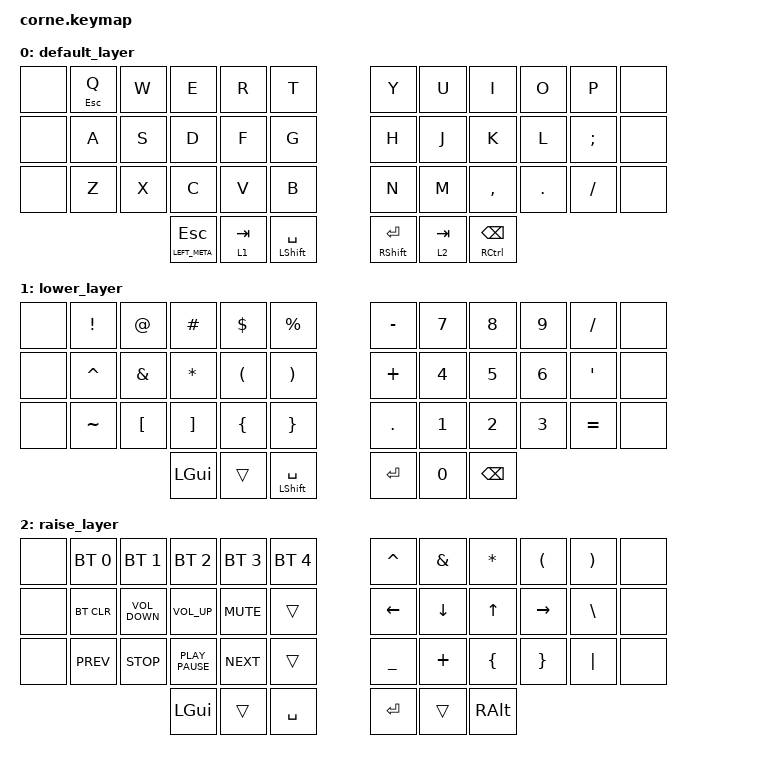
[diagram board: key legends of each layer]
/*
 * Copyright (c) 2020 The ZMK Contributors
 *
 * SPDX-License-Identifier: MIT
 */

#include <behaviors.dtsi>
#include <dt-bindings/zmk/bt.h>
#include <dt-bindings/zmk/keys.h>

/ {
    keymap {
        compatible = "zmk,keymap";

        default_layer {
            // -----------------------------------------------------------------------------------------
            // |  TAB |  Q  |  W  |  E  |  R  |  T  |   |  Y  |  U   |  I  |  O  |  P  | BKSP |
            // | CTRL |  A  |  S  |  D  |  F  |  G  |   |  H  |  J   |  K  |  L  |  ;  |  '   |
            // | SHFT |  Z  |  X  |  C  |  V  |  B  |   |  N  |  M   |  ,  |  .  |  /  | ESC  |
            //                    | GUI | LWR | SPC |   | ENT | RSE  | ALT |

            bindings = <
&none  &mt ESCAPE Q  &kp W  &kp E              &kp R      &kp T                   &kp Y                &kp U      &kp I                        &kp O    &kp P     &none
&none  &kp A         &kp S  &kp D              &kp F      &kp G                   &kp H                &kp J      &kp K                        &kp L    &kp SEMI  &none
&none  &kp Z         &kp X  &kp C              &kp V      &kp B                   &kp N                &kp M      &kp COMMA                    &kp DOT  &kp FSLH  &none
                            &mt LEFT_META ESC  &lt 1 TAB  &mt LEFT_SHIFT SPACE    &mt RIGHT_SHIFT RET  &lt 2 TAB  &mt RIGHT_CONTROL BACKSPACE
            >;
        };

        lower_layer {
            // -----------------------------------------------------------------------------------------
            // |  TAB |  1  |  2  |  3  |  4  |  5  |   |  6  |  7  |  8  |  9  |  0  | BKSP |
            // | BTCLR| BT1 | BT2 | BT3 | BT4 | BT5 |   | LFT | DWN |  UP | RGT |     |      |
            // | SHFT |     |     |     |     |     |   |     |     |     |     |     |      |
            //                    | GUI |     | SPC |   | ENT |     | ALT |

            bindings = <
&none  &kp EXCLAMATION  &kp AT_SIGN       &kp HASH           &kp DOLLAR            &kp PERCENT              &kp MINUS   &kp NUMBER_7  &kp N8         &kp N9        &kp SLASH  &none
&none  &kp CARET        &kp AMPERSAND     &kp ASTERISK       &kp LEFT_PARENTHESIS  &kp RIGHT_PARENTHESIS    &kp PLUS    &kp NUMBER_4  &kp N5         &kp NUMBER_6  &kp SQT    &none
&none  &kp TILDE        &kp LEFT_BRACKET  &kp RIGHT_BRACKET  &kp LEFT_BRACE        &kp RIGHT_BRACE          &kp PERIOD  &kp NUMBER_1  &kp NUMBER_2   &kp NUMBER_3  &kp EQUAL  &none
                                          &kp LGUI           &trans                &mt LEFT_SHIFT SPACE     &kp ENTER   &kp N0        &kp BACKSPACE
            >;
        };

        raise_layer {
            // -----------------------------------------------------------------------------------------
            // |  TAB |  !  |  @  |  #  |  $  |  %  |   |  ^  |  &  |  *  |  (  |  )  | BKSP |
            // | CTRL |     |     |     |     |     |   |  -  |  =  |  [  |  ]  |  \  |  `   |
            // | SHFT |     |     |     |     |     |   |  _  |  +  |  {  |  }  | "|" |  ~   |
            //                    | GUI |     | SPC |   | ENT |     | ALT |

            bindings = <
&none  &bt BT_SEL 0  &bt BT_SEL 1       &bt BT_SEL 2      &bt BT_SEL 3  &bt BT_SEL 4    &kp CARET       &kp AMPS  &kp ASTRK     &kp LPAR   &kp RPAR  &none
&none  &bt BT_CLR    &kp C_VOLUME_DOWN  &kp C_VOLUME_UP   &kp K_MUTE    &trans          &kp LEFT_ARROW  &kp DOWN  &kp UP_ARROW  &kp RIGHT  &kp BSLH  &none
&none  &kp K_PREV    &kp K_STOP         &kp K_PLAY_PAUSE  &kp K_NEXT    &trans          &kp UNDER       &kp PLUS  &kp LBRC      &kp RBRC   &kp PIPE  &none
                                        &kp LGUI          &trans        &kp SPACE       &kp RET         &trans    &kp RALT
            >;
        };
    };
};
